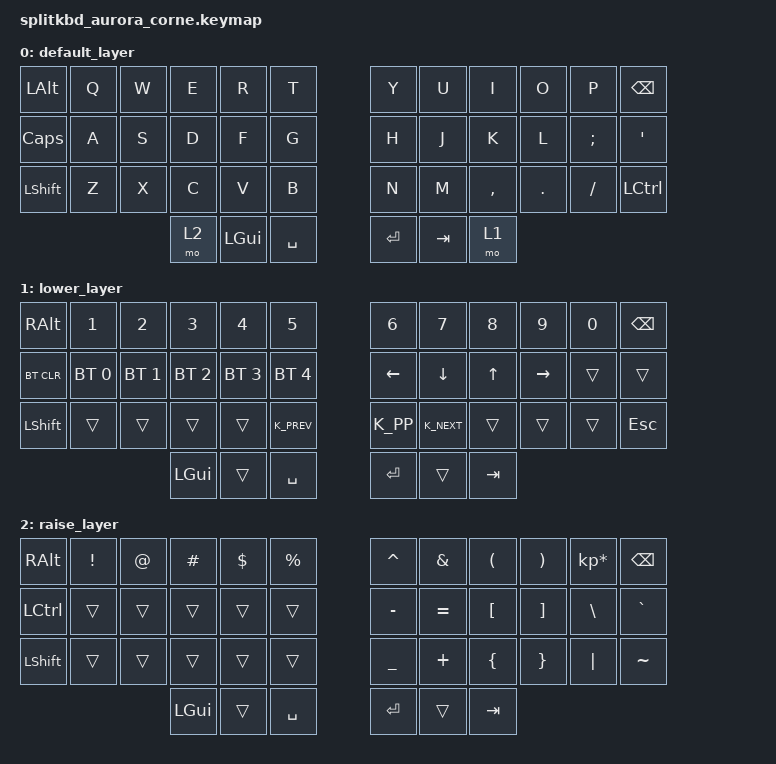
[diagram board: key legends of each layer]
/*
 * Copyright (c) 2020 The ZMK Contributors
 *
 * SPDX-License-Identifier: MIT
 */

#include <behaviors.dtsi>
#include <dt-bindings/zmk/keys.h>
#include <dt-bindings/zmk/bt.h>

/ {
        keymap {
                compatible = "zmk,keymap";

                default_layer {
// -----------------------------------------------------------------------------------------
// | LALT |  Q  |  W  |  E  |  R  |  T  |   |  Y  |  U   |  I  |  O  |  P  | BKSP |
// | CAPS |  A  |  S  |  D  |  F  |  G  |   |  H  |  J   |  K  |  L  |  ;  |  '   |
// | SHFT |  Z  |  X  |  C  |  V  |  B  |   |  N  |  M   |  ,  |  .  |  /  | LCTR |
//                    | RSE | GUI | SPC |   | ENT | TAB  | LWR |
                        bindings = <
   &kp LALT   &kp Q &kp W &kp E &kp R &kp T   &kp Y &kp U  &kp I     &kp O   &kp P    &kp BSPC
   &kp CAPS &kp A &kp S &kp D &kp F &kp G   &kp H &kp J  &kp K     &kp L   &kp SEMI &kp SQT
   &kp LSHFT &kp Z &kp X &kp C &kp V &kp B   &kp N &kp M  &kp COMMA &kp DOT &kp FSLH &kp LCTRL
                  &mo 2 &kp LGUI &kp SPACE   &kp RET &kp TAB &mo 1
                        >;
                };
                lower_layer {
// -----------------------------------------------------------------------------------------
// | RALT |  1  |  2  |  3  |  4  |  5  |   |  6  |  7  |  8  |  9  |  0  | BKSP |
// | BTCLR| BT1 | BT2 | BT3 | BT4 | BT5 |   | LFT | DWN |  UP | RGT |     |      |
// | SHFT |     |     |     |     |     |   |PREV | PP  | NXT |     |     |  ESC |
//                    | GUI |     | SPC |   | ENT |     | TAB |
                        bindings = <
   &kp RALT   &kp N1       &kp N2       &kp N3       &kp N4       &kp N5         &kp N6   &kp N7   &kp N8 &kp N9    &kp N0 &kp BSPC
   &bt BT_CLR &bt BT_SEL 0 &bt BT_SEL 1 &bt BT_SEL 2 &bt BT_SEL 3 &bt BT_SEL 4   &kp LEFT &kp DOWN &kp UP &kp RIGHT &trans &trans
   &kp LSHFT  &trans       &trans       &trans       &trans       &K_PREV        &K_PP    &K_NEXT  &trans &trans    &trans &kp ESC
                                    &kp LGUI     &trans       &kp SPACE      &kp RET  &trans   &kp TAB
                        >;
                };

                raise_layer {
// -----------------------------------------------------------------------------------------
// | RALT |  !  |  @  |  #  |  $  |  %  |   |  ^  |  &  |  (  |  )  |  *  | BKSP |
// | CTRL |     |     |     |     |     |   |  -  |  =  |  [  |  ]  |  \  |  `   |
// | SHFT |     |     |     |     |     |   |  _  |  +  |  {  |  }  | "|" |  ~   |
//                    | GUI |     | SPC |   | ENT |     | TAB |
                        bindings = <
   &kp RALT  &kp EXCL &kp AT &kp HASH &kp DLLR &kp PRCNT   &kp CARET &kp AMPS  &kp LPAR &kp RPAR &kp KP_MULTIPLY &kp BSPC
   &kp LCTRL &trans   &trans &trans   &trans   &trans      &kp MINUS &kp EQUAL &kp LBKT &kp RBKT &kp BSLH        &kp GRAVE
   &kp LSHFT &trans   &trans &trans   &trans   &trans      &kp UNDER &kp PLUS  &kp LBRC &kp RBRC &kp PIPE        &kp TILDE
                             &kp LGUI &trans   &kp SPACE   &kp RET   &trans    &kp TAB
                        >;
                };
        };
};
